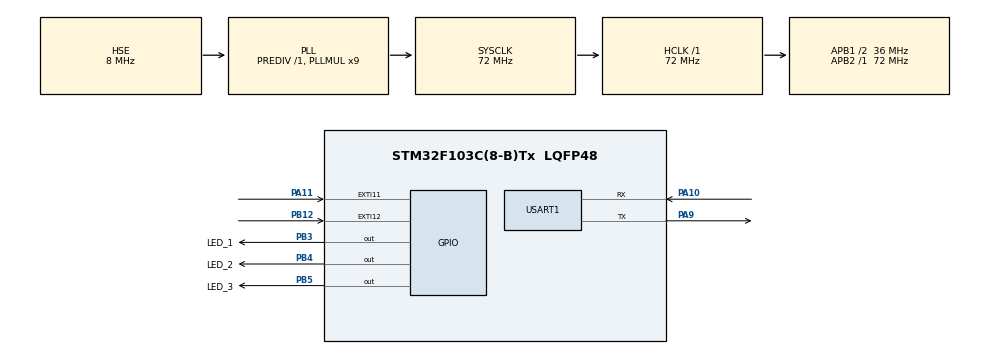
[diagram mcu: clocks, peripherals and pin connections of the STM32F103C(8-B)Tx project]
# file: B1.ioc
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Mcu.Family=STM32F1
Mcu.Name=STM32F103C(8-B)Tx
Mcu.Package=LQFP48
NVIC.EXTI15_10_IRQn=true\:0\:0\:false\:false\:true\:true\:true\:true
NVIC.PriorityGroup=NVIC_PRIORITYGROUP_4
NVIC.USART1_IRQn=true\:0\:0\:false\:false\:true\:true\:true\:true
PA10.Mode=Asynchronous
PA10.Signal=USART1_RX
PA11.GPIO_ModeDefaultEXTI=GPIO_MODE_IT_FALLING
PA11.GPIO_PuPd=GPIO_PULLUP
PA11.Signal=GPXTI11
PA13.Mode=Serial_Wire
PA13.Signal=SYS_JTMS-SWDIO
PA14.Mode=Serial_Wire
PA14.Signal=SYS_JTCK-SWCLK
PA9.Mode=Asynchronous
PA9.Signal=USART1_TX
PB12.GPIO_ModeDefaultEXTI=GPIO_MODE_IT_FALLING
PB12.GPIO_PuPd=GPIO_PULLUP
PB12.Signal=GPXTI12
PB3.GPIO_Label=LED_1
PB3.Signal=GPIO_Output
PB4.GPIO_Label=LED_2
PB4.Signal=GPIO_Output
PB5.GPIO_Label=LED_3
PB5.Signal=GPIO_Output
PC14-OSC32_IN.Mode=LSE-External-Oscillator
PC14-OSC32_IN.Signal=RCC_OSC32_IN
PC15-OSC32_OUT.Mode=LSE-External-Oscillator
PC15-OSC32_OUT.Signal=RCC_OSC32_OUT
PD0-OSC_IN.Mode=HSE-External-Oscillator
PD0-OSC_IN.Signal=RCC_OSC_IN
PD1-OSC_OUT.Mode=HSE-External-Oscillator
PD1-OSC_OUT.Signal=RCC_OSC_OUT
ProjectManager.HeapSize=0x200
ProjectManager.StackSize=0x400
ProjectManager.TargetToolchain=STM32CubeIDE
RCC.AHBFreq_Value=72000000
RCC.APB1CLKDivider=RCC_HCLK_DIV2
RCC.APB1Freq_Value=36000000
RCC.APB1TimFreq_Value=72000000
RCC.APB2Freq_Value=72000000
RCC.APB2TimFreq_Value=72000000
RCC.HCLKFreq_Value=72000000
RCC.PLLMUL=RCC_PLL_MUL9
RCC.PLLSourceVirtual=RCC_PLLSOURCE_HSE
RCC.SYSCLKFreq_VALUE=72000000
RCC.SYSCLKSource=RCC_SYSCLKSOURCE_PLLCLK
RCC.USBFreq_Value=72000000
USART1.VirtualMode=VM_ASYNC
board=custom

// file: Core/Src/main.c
/* USER CODE BEGIN Header */
/**
  ******************************************************************************
  * @file           : main.c
  * @brief          : Main program body
  ******************************************************************************
  * @attention
  *
  * Copyright (c) 2026 STMicroelectronics.
  * All rights reserved.
  *
  * This software is licensed under terms that can be found in the LICENSE file
  * in the root directory of this software component.
  * If no LICENSE file comes with this software, it is provided AS-IS.
  *
  ******************************************************************************
  */
/* USER CODE END Header */
#include "main.h"
#include "usart.h"
#include "gpio.h"

/* USER CODE BEGIN Includes */
#include "OLED.h"
#include <stdio.h>
#include <string.h>
/* USER CODE END Includes */

/* USER CODE BEGIN PTD */
typedef struct __attribute__((packed)) {
  uint8_t  header;          /* 0xAA */
  uint8_t  run;             /* 00 暂停 / 01 运行 */
  uint8_t  dir;             /* 00 正向 / 01 反向 */
  uint16_t step_ms;         /* 低字节在前，正对 STEP_L / STEP_H */
  uint8_t  checksum;        /* 前 5 字节之和的低 8 位 */
} DemoPacket;

/* USER CODE END PTD */

/* USER CODE BEGIN PD */
static void ledShow(uint8_t idx);
static void ledStep(void);
static void UartFeedback(void);
static void UiRefresh(void);
/* USER CODE END PD */

/* USER CODE BEGIN PV */
#define led_PORT   GPIOB
static const uint16_t led_pins[3] = { GPIO_PIN_3, GPIO_PIN_4, GPIO_PIN_5 };

static uint8_t  led  ;      /* 当前点亮第几颗：0~2 */
volatile uint8_t runstate   ;      /* 1 运行 / 0 暂停 */
volatile uint16_t step ;
static uint8_t  dir  ;      /* 0 正向 / 1 反向 */
  /* 切换间隔 ms，今晚先写死，明天改串口 */
static uint32_t last_tick = 0;

volatile uint8_t ev_dir =0 , ev_run = 0 ;   /* 按键事件，中断里只置位 */

DemoPacket rx_packet;
volatile uint8_t packet_ready = 0;

static char tx_feedback [64];

volatile uint8_t tx_state = 0;/* 0 串口空闲/ 1 串口正忙 */

/* USER CODE END PV */

void SystemClock_Config(void);

int main(void)
{

  /* MCU Configuration--------------------------------------------------------*/

  /* Reset of all peripherals, Initializes the Flash interface and the Systick. */
  HAL_Init();

  /* Configure the system clock */
  SystemClock_Config();

  /* Initialize all configured peripherals */
  MX_GPIO_Init();
  MX_USART1_UART_Init();
  /* USER CODE BEGIN 2 */

  runstate = 1;   step = 300;   dir = 0;   led = 0;
  last_tick = HAL_GetTick();
  ledShow(led);
  UiRefresh();      /* 先画一帧，屏就不会是黑的 */

  HAL_UART_Receive_IT(&huart1, (uint8_t *)&rx_packet, sizeof(rx_packet));

  OLED_Init( );

  /* USER CODE END 2 */

  /* Infinite loop */
  while (1)
  {

    /* USER CODE BEGIN 3 */
    if (packet_ready) {
      DemoPacket packet = rx_packet;
      packet_ready = 0;

      const uint8_t *bytes = (const uint8_t *)&packet;
      uint8_t expected = (uint8_t)(bytes[0] + bytes[1]        //计算最后面校验位
                               + bytes[2] + bytes[3] +bytes[4]);

      if (packet.header == 0xAA && packet.checksum == (expected %256)
          && packet.run <= 1
          && packet.dir <= 1
          && packet.step_ms >= 100
          && packet.step_ms <= 2000)
      {
        runstate = packet.run;
        step = packet.step_ms;
        dir = packet.dir;
        UartFeedback();
        UiRefresh();
      }
      else {}/* 帧头/校验和不对，整包丢弃*/

      HAL_UART_Receive_IT(&huart1,
          (uint8_t *)&rx_packet, sizeof(rx_packet));
    }

    /* 1) 先处理按键事件：必须放在切灯判断之外，暂停时也要响应 */
    uint32_t now = HAL_GetTick();
    static uint32_t last_tick_dir = 0, last_tick_run = 0;
    if (ev_dir && now - last_tick_dir >= 20)
    {
      last_tick_dir = now;
      ev_dir = 0;
      dir = !dir;
      ledShow(led);
      UiRefresh();
      UartFeedback();
    }
    if (ev_run && now - last_tick_run >= 20)
    {
      last_tick_run = now;
      ev_run = 0;
      runstate = !runstate;
      UiRefresh();
      UartFeedback();
    }

    /* 2) 灯只在“运行”时推进；GetTick 差值，不用 HAL_Delay */
    if (runstate && (HAL_GetTick() - last_tick >= step)) {
      last_tick = HAL_GetTick();
      ledStep();
      UiRefresh();
    }
  }
  /* USER CODE END 3 */
}

void SystemClock_Config(void)
{
  RCC_OscInitTypeDef RCC_OscInitStruct = {0};
  RCC_ClkInitTypeDef RCC_ClkInitStruct = {0};

  /** Initializes the RCC Oscillators according to the specified parameters
  * in the RCC_OscInitTypeDef structure.
  */
  RCC_OscInitStruct.OscillatorType = RCC_OSCILLATORTYPE_HSE;
  RCC_OscInitStruct.HSEState = RCC_HSE_ON;
  RCC_OscInitStruct.HSEPredivValue = RCC_HSE_PREDIV_DIV1;
  RCC_OscInitStruct.HSIState = RCC_HSI_ON;
  RCC_OscInitStruct.PLL.PLLState = RCC_PLL_ON;
  RCC_OscInitStruct.PLL.PLLSource = RCC_PLLSOURCE_HSE;
  RCC_OscInitStruct.PLL.PLLMUL = RCC_PLL_MUL9;
  if (HAL_RCC_OscConfig(&RCC_OscInitStruct) != HAL_OK)
  {
    Error_Handler();
  }

  /** Initializes the CPU, AHB and APB buses clocks
  */
  RCC_ClkInitStruct.ClockType = RCC_CLOCKTYPE_HCLK|RCC_CLOCKTYPE_SYSCLK
                              |RCC_CLOCKTYPE_PCLK1|RCC_CLOCKTYPE_PCLK2;
  RCC_ClkInitStruct.SYSCLKSource = RCC_SYSCLKSOURCE_PLLCLK;
  RCC_ClkInitStruct.AHBCLKDivider = RCC_SYSCLK_DIV1;
  RCC_ClkInitStruct.APB1CLKDivider = RCC_HCLK_DIV2;
  RCC_ClkInitStruct.APB2CLKDivider = RCC_HCLK_DIV1;

  if (HAL_RCC_ClockConfig(&RCC_ClkInitStruct, FLASH_LATENCY_2) != HAL_OK)
  {
    Error_Handler();
  }
}

/* USER CODE BEGIN 4 */
static void ledShow(uint8_t idx)
{
  for (uint8_t i = 0; i < 3; i++)
    HAL_GPIO_WritePin(led_PORT, led_pins[i], GPIO_PIN_RESET);    /* 灭 */
  HAL_GPIO_WritePin(led_PORT, led_pins[idx], GPIO_PIN_SET);   /* 亮 */
}

/* 步进：正向 +1、反向 -1，两端折返（3 的模运算天然折返） */
static void ledStep(void)
{
  led = dir ? (uint8_t)((led + 2) % 3) : (uint8_t)((led + 1) % 3);
  ledShow(led);
}
static void UiRefresh(void)
{
  char l1[20], l2[20], l3[20], l4[20];
  snprintf(l1, sizeof l1, "STATE:%4s", runstate ? "RUN" : "STOP");
  snprintf(l2, sizeof l2, "DIR: %s",   dir ? "REV" : "FWD");
  snprintf(l3, sizeof l3, "STEP: %u",  (unsigned)step);
  snprintf(l4, sizeof l4, "LED: %u",   (unsigned)(led + 1));
  OLED_ShowString(1, 1, l1);  OLED_ShowString(2, 1, l2);
  OLED_ShowString(3, 1, l3);  OLED_ShowString(4, 1, l4);
}
static void UartFeedback(void)
{
  if (tx_state) return;                 /* 上一包没发完，丢掉这包，别覆盖缓冲 */
  snprintf(tx_feedback, sizeof(tx_feedback), "STATE=%4s,DIR=%s,STEP=%u,LED=%u\r\n",
           runstate ? "RUN" : "STOP", dir ? "REV" : "FWD",
           (unsigned)step, (unsigned)(led + 1));
  tx_state = 1;
  if (HAL_UART_Transmit_IT(&huart1, (uint8_t *)tx_feedback,
                          (uint16_t)strlen(tx_feedback)) != HAL_OK)
             {tx_state = 0;}        /* 发送失败，串口置为空闲 */
}
void HAL_GPIO_EXTI_Callback(uint16_t GPIO_Pin)
{
  if (GPIO_Pin == GPIO_PIN_11) ev_dir = 1;
  else if (GPIO_Pin == GPIO_PIN_12) ev_run = 1;
}
void HAL_UART_RxCpltCallback(UART_HandleTypeDef *huart)
{
  if (huart->Instance == USART1)
  {
    packet_ready = 1;      /* 记这一包收满了 */
  }
}
void HAL_UART_TxCpltCallback(UART_HandleTypeDef *huart)
{
  if (huart->Instance == USART1) tx_state = 0;   /* 发送完成才放开忙标志 */
}
/* USER CODE END 4 */

void Error_Handler(void)
{
  __disable_irq();
  while (1)
  {
  }
}
